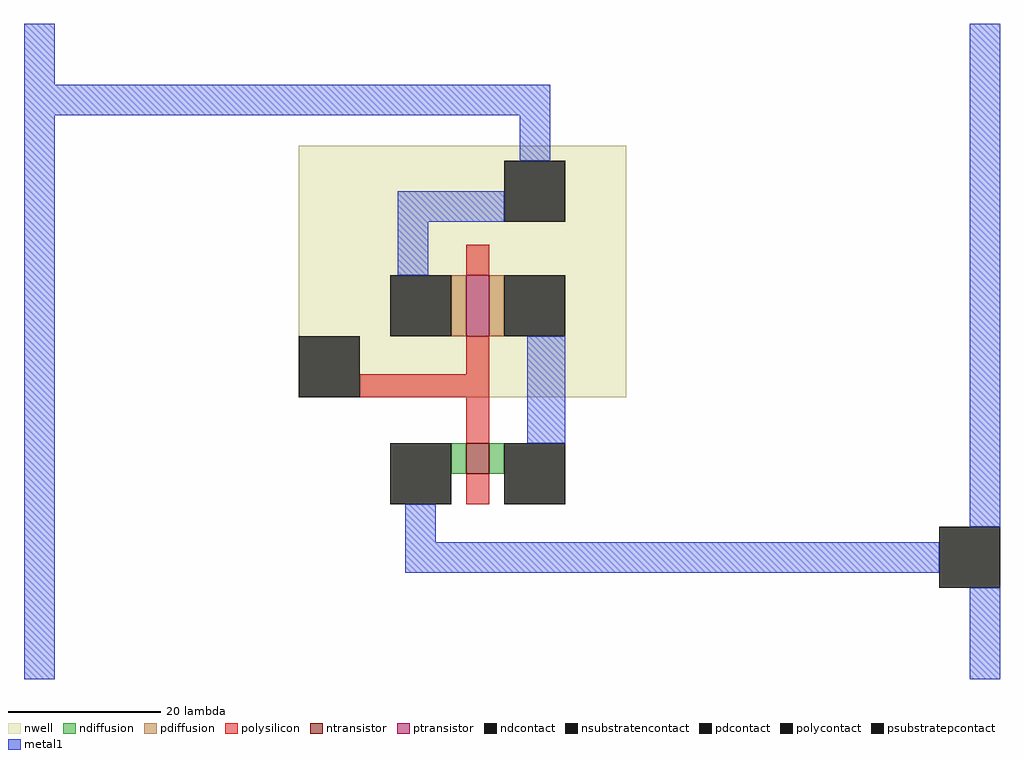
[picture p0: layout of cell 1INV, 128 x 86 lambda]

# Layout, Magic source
magic
tech tsmc
<< nwell >>
rect -13 17 30 50
<< ntransistor >>
rect 9 7 12 11
<< ptransistor >>
rect 9 25 12 33
<< ndiffusion >>
rect 7 7 9 11
rect 12 7 14 11
<< pdiffusion >>
rect 7 25 9 33
rect 12 25 14 33
<< ndcontact >>
rect -1 3 7 11
rect 14 3 22 11
<< pdcontact >>
rect -1 25 7 33
rect 14 25 22 33
<< psubstratepcontact >>
rect 71 -8 79 0
<< nsubstratencontact >>
rect 14 40 22 48
<< polysilicon >>
rect 9 33 12 37
rect 9 20 12 25
rect -5 17 12 20
rect 9 11 12 17
rect 9 3 12 7
<< polycontact >>
rect -13 17 -5 25
<< metal1 >>
rect -49 58 -45 66
rect -49 54 20 58
rect -49 -20 -45 54
rect 16 48 20 54
rect 0 40 14 44
rect 0 33 4 40
rect 17 11 22 25
rect 1 -2 5 3
rect 75 0 79 66
rect 1 -6 71 -2
rect 75 -20 79 -8
<< end >>
